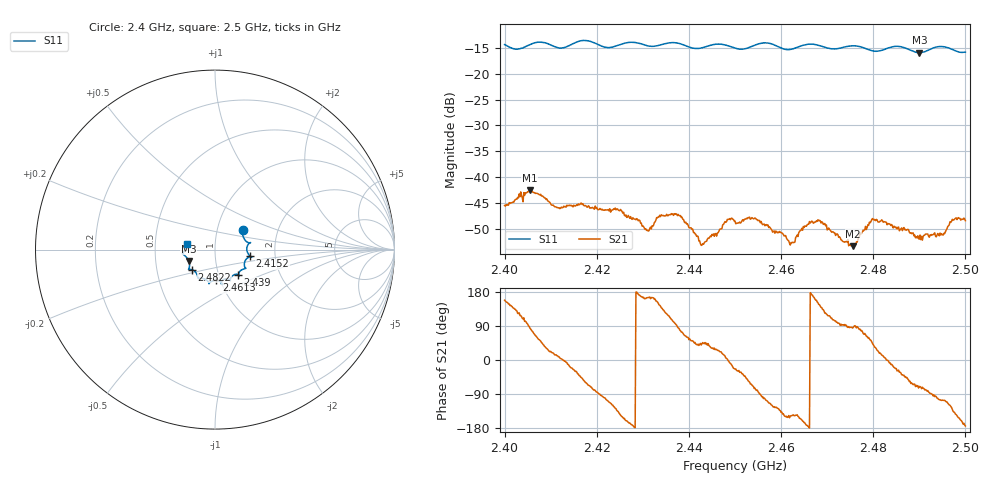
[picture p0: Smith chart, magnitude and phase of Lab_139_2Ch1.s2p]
# Hz S RI R 50
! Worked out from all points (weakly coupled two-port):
!   601 points, 2.4 GHz to 2.5 GHz, reference 50 ohm
!   highest |S21| = -42.54 dB at 2.4055 GHz (marker M1); lowest = -53.3 dB at 2.4757 GHz (marker M2)
!   lowest |S11| = -15.9 dB at 2.49 GHz (marker M3), VSWR 1.38, Z = 37 - j4.83 ohm
!   |S11| at or under -10 dB: start of sweep to end of sweep
!   S12 and S22 are empty: the file has one direction only
!   S11 on the Smith chart (normalised r, x): 2.4 GHz: 1.33, +0.31; 2.4152 GHz: 1.48, -0.11; 2.439 GHz: 1.24, -0.36; 2.4613 GHz: 0.96, -0.34; 2.4822 GHz: 0.76, -0.17; 2.5 GHz: 0.72, +0.05
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2.4e9  0.1554 0.1113  -0.00493 0.00201  0 0  0 0
2.4055e9  0.1878 0.0379  0.000768 0.00743  0 0  0 0
2.4115e9  0.1781 0.0136  0.005 0.000962  0 0  0 0
2.415167e9  0.1948 -0.0361  0.00469 -0.00246  0 0  0 0
2.416667e9  0.2045 -0.0419  0.00386 -0.00407  0 0  0 0
2.424833e9  0.165 -0.0943  -0.00366 -0.00305  0 0  0 0
2.430833e9  0.1498 -0.1121  -0.00295 0.000828  0 0  0 0
2.433333e9  0.1325 -0.1326  -0.00358 0.00205  0 0  0 0
2.439e9  0.1277 -0.139  0.00155 0.00335  0 0  0 0
2.443e9  0.0903 -0.1544  0.00158 0.00164  0 0  0 0
2.448333e9  0.0826 -0.1682  0.00391 0.000156  0 0  0 0
2.45e9  0.0684 -0.1633  0.00345 -0.00153  0 0  0 0
2.454167e9  0.0348 -0.1845  0.00102 -0.00385  0 0  0 0
2.461333e9  0.00786 -0.1708  -0.0022 -0.00119  0 0  0 0
2.4625e9  -0.00966 -0.1734  -0.00194 -0.00132  0 0  0 0
2.466667e9  -0.0337 -0.1903  -0.00373 0.000527  0 0  0 0
2.475667e9  -0.0935 -0.1611  0.000142 0.00215  0 0  0 0
2.479667e9  -0.1043 -0.1306  0.00262 0.00287  0 0  0 0
2.482167e9  -0.1282 -0.1116  0.00361 0.000663  0 0  0 0
2.483333e9  -0.1395 -0.1101  0.00353 -0.000233  0 0  0 0
2.49e9  -0.1464 -0.0637  0.000863 -0.00236  0 0  0 0
2.5e9  -0.1585 0.0337  -0.00378 -0.000393  0 0  0 0
